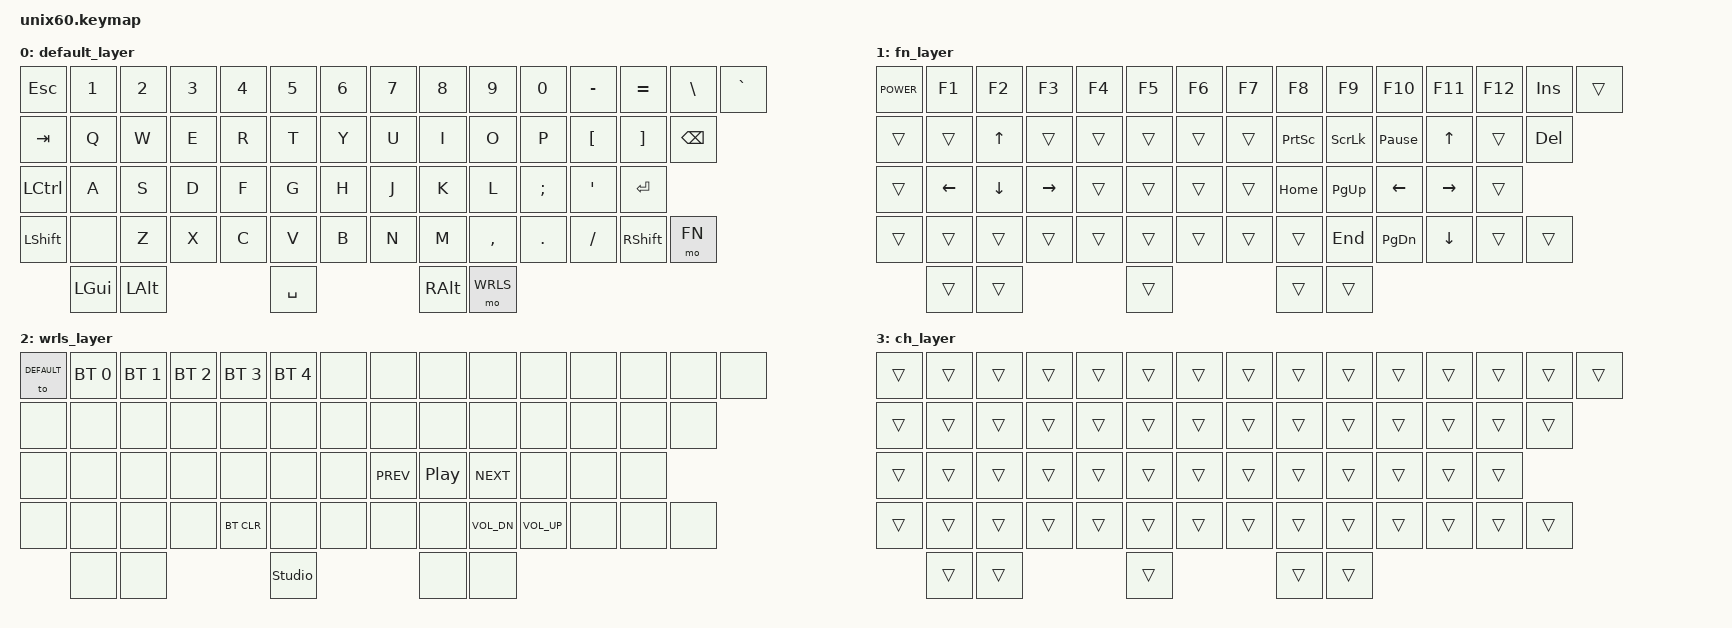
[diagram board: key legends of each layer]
#include <behaviors.dtsi>
#include <dt-bindings/zmk/keys.h>
#include <dt-bindings/zmk/bt.h>

#define DEFAULT 0
#define FN 1
#define WRLS 2
#define CH 3

/ {
    keymap {
        compatible = "zmk,keymap";

        default_layer {
            bindings = <
                &kp ESC   &kp N1    &kp N2    &kp N3    &kp N4    &kp N5    &kp N6    &kp N7    &kp N8    &kp N9    &kp N0    &kp MINUS &kp EQUAL &kp BSLH &kp GRAVE
                &kp TAB   &kp Q     &kp W     &kp E     &kp R     &kp T     &kp Y     &kp U     &kp I     &kp O     &kp P     &kp LBKT  &kp RBKT  &kp BSPC
                &kp LCTRL &kp A     &kp S     &kp D     &kp F     &kp G     &kp H     &kp J     &kp K     &kp L     &kp SEMI  &kp SQT   &kp ENTER
                &kp LSHFT &none     &kp Z     &kp X     &kp C     &kp V     &kp B     &kp N     &kp M     &kp COMMA &kp DOT   &kp SLASH &kp RSHFT &mo FN
                          &kp LGUI  &kp LALT                    &kp SPACE                       &kp RALT  &mo WRLS
            >;
        };

        fn_layer {
            bindings = <
                &kp K_POWER &kp F1   &kp F2   &kp F3    &kp F4    &kp F5     &kp F6    &kp F7    &kp F8    &kp F9    &kp F10         &kp F11   &kp F12 &kp INS &trans
                &trans      &trans   &kp UP   &trans    &trans    &trans     &trans    &trans    &kp PSCRN &kp SLCK  &kp PAUSE_BREAK &kp UP    &trans  &kp DEL
                &trans      &kp LEFT &kp DOWN &kp RIGHT &trans    &trans     &trans    &trans    &kp HOME  &kp PG_UP &kp LEFT        &kp RIGHT &trans
                &trans      &trans   &trans   &trans    &trans    &trans     &trans    &trans    &trans    &kp END   &kp PG_DN       &kp DOWN  &trans  &trans
                            &trans   &trans               &trans                    &trans &trans
            >;
        };

        wrls_layer {
            bindings =<
                &to DEFAULT &bt BT_SEL 0 &bt BT_SEL 1 &bt BT_SEL 2 &bt BT_SEL 3 &bt BT_SEL 4 &none &none      &none        &none      &none &none &none &none &none
                &none       &none        &none        &none        &none        &none        &none &none      &none        &none      &none &none &none &none
                &none       &none        &none        &none        &none        &none        &none &kp C_PREV &kp C_PP     &kp C_NEXT &none &none &none
                &none       &none        &none        &none        &bt BT_CLR   &none        &none &none      &none &kp C_VOL_DN &kp C_VOL_UP &none &none &none
                        &none &none             &studio_unlock                   &none &none
            >;
        };

        ch_layer {
            bindings = <
                &trans &trans &trans &trans &trans &trans &trans &trans &trans &trans &trans &trans &trans &trans &trans //15 keys
                &trans &trans &trans &trans &trans &trans &trans &trans &trans &trans &trans &trans &trans &trans        //14 keys
                &trans &trans &trans &trans &trans &trans &trans &trans &trans &trans &trans &trans &trans               //13 keys
                &trans &trans &trans &trans &trans &trans &trans &trans &trans &trans &trans &trans &trans &trans        //14 keys
                            &trans   &trans               &trans                    &trans &trans                        //5 keys
            >;
        };
    };
};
